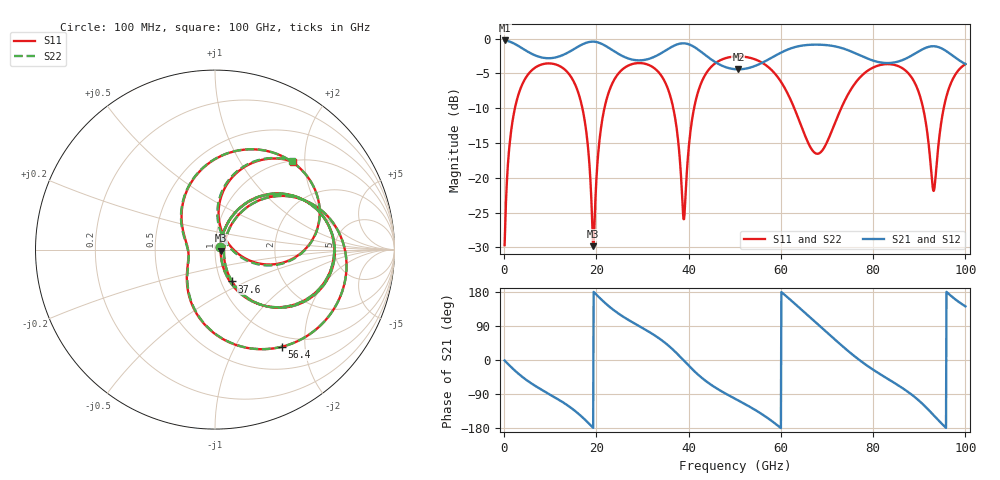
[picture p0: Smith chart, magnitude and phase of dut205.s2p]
! Touchstone file exported from HFSS 2026.1.0
!  File:  C:/ffzhzh/LocalFiles/Ansys_Project_Files/temp_train_TSV_RDL_205_1783659618_33328.aedt
!  Generated:  01:09:59 PM Jul 10, 2026
!  Design:  TSV_RDL
!  Project:  temp_train_TSV_RDL_205_1783659618_33328
! Variables:
!  h_bsmrdl = 2.27um
!  h_ox = 20um
!  h_rdl = 5um
!  h_sub = 52.9um
!  h_tmrdl = 3.07um
!  h_tsv = 52.9um
!  h_via = 3um
!  l_bsmrdl = 599.79um
!  l_sub = 3261.67um
!  l_tmrdl = 243um
!  m_sub = 200um
!  pitch = 53.05um
!  r_tsv = 10.66um
!  s_tmrdl = 10um
!  w_bsmrdl = 12.53um
!  w_sub = 500um
!  w_tmrdl = 17.57um
!  x_tsv_center1 = 251.785um
!  x_tsv_center2 = 864.105um
!  x_tsv_center3 = 1124.675um
!  x_tsv_center4 = 1736.995um
!  x_tsv_center5 = 1997.565um
!  x_tsv_center6 = 2609.885um
# GHz S MA R 50.000000
! Terminal data exported
! Port[1] = TM_RDL1_1_T1
! Port[2] = TM_RDL5_1_T1
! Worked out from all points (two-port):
!   1000 points, 100 MHz to 100 GHz, reference 50 ohm
!   highest |S21| = -0.26 dB at 100 MHz (marker M1); lowest = -4.4 dB at 50.8 GHz (marker M2)
!   |S21| within 3 dB of the highest: start of sweep to 45.51 GHz; 56.55 GHz to 80.52 GHz (23.97 GHz wide, 35 % of centre) (the widest 2 of 3)
!   lowest |S11| = -29.8 dB at 19.3 GHz (marker M3), VSWR 1.07, Z = 53.3 - j0.704 ohm
!   |S11| at or under -10 dB: 16.97 GHz to 21.74 GHz (4.773 GHz wide, 24.7 % of centre); 36.67 GHz to 41.17 GHz (4.501 GHz wide, 11.6 % of centre); 62.91 GHz to 73.07 GHz (10.17 GHz wide, 15 % of centre) (the widest 3 of 5)
!   |S22| runs from -29.7 to -2.5 dB; largest |S21 - S12| = 1e-12
!   S11 on the Smith chart (normalised r, x): 100 MHz: 1.06, +0.03; 37.6 GHz: 1.13, -0.42; 56.4 GHz: 0.83, -1.57; 100 GHz: 1.02, +1.76
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0.1  0.03283 26.7  0.9709 -1.3  0.9709 -1.3  0.03283 26.7
! Gamma 0 0 0 0
! Port Impedance 50 0 50 0
1.7  0.241 61.3  0.9378 -20.8  0.9378 -20.8  0.241 61.3
4.8  0.531 34.4  0.8179 -52.5  0.8179 -52.5  0.531 34.4
10.7  0.659 -7.6  0.7283 -96.5  0.7283 -96.5  0.6589 -7.6
16.8  0.3349 -56.0  0.9046 -149.2  0.9046 -149.2  0.3348 -56.0
19.3  0.03227 -11.8  0.952 -179.0  0.952 -179.0  0.03263 -11.4
23.3  0.4654 41.9  0.8339 135.9  0.8339 135.9  0.4655 41.8
33.4  0.5784 -29.9  0.7649 58.7  0.7649 58.7  0.5783 -29.8
37.6  0.201 -61.9  0.9117 15.6  0.9117 15.6  0.201 -61.7
39  0.05043 5.1  0.9258 -2.0  0.9258 -2.0  0.05117 5.2
42.4  0.4505 41.4  0.8189 -42.5  0.8189 -42.5  0.4508 41.3
50.1  0.745 -13.4  0.6033 -102.5  0.6033 -102.5  0.7452 -13.4
50.8  0.7461 -17.7  0.602 -107.1  0.602 -107.1  0.7463 -17.7
56.4  0.6569 -55.5  0.6832 -147.0  0.6832 -147.0  0.6572 -55.4
61.9  0.3767 -105.1  0.8458 160.6  0.8458 160.6  0.3772 -104.6
66.7  0.1598 -158.5  0.905 108.3  0.905 108.3  0.1603 -156.8
74.4  0.3892 110.9  0.8298 25.5  0.8298 25.5  0.3889 111.5
83.4  0.6562 38.4  0.6683 -51.5  0.6683 -51.5  0.6561 38.3
89.8  0.4194 -8.1  0.8072 -105.8  0.8072 -105.8  0.4188 -8.8
93.1  0.0805 32.0  0.8825 -145.5  0.8825 -145.5  0.07341 31.6
95.9  0.3852 78.6  0.8121 179.8  0.8121 179.8  0.3836 79.7
100  0.6557 48.3  0.6579 141.5  0.6579 141.5  0.6551 48.8
